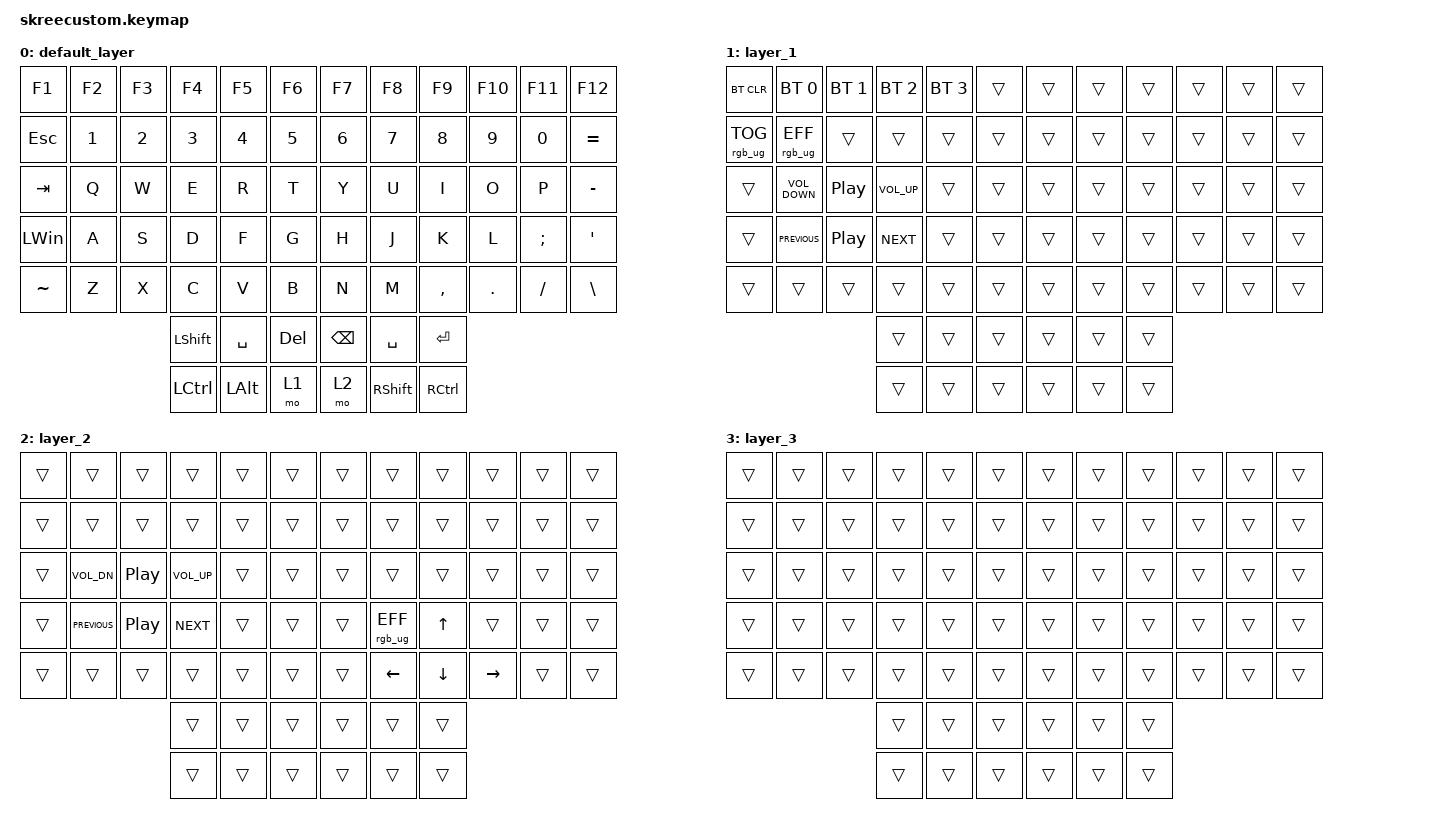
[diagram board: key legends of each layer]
/*
 * Copyright (c) 2020 The ZMK Contributors
 *
 * SPDX-License-Identifier: MIT
 */

#include <input/processors.dtsi>
#include <dt-bindings/zmk/input_transform.h>
#include <behaviors.dtsi>
#include <dt-bindings/zmk/bt.h>
#include <dt-bindings/zmk/keys.h>
#include <dt-bindings/zmk/rgb.h>

/ {
    keymap {
        compatible = "zmk,keymap";

        default_layer {
            bindings = <
&kp F1        &kp F2  &kp F3  &kp F4     &kp F5     &kp F6     &kp F7         &kp F8           &kp F9        &kp F10       &kp F11       &kp F12
&kp ESC       &kp N1  &kp N2  &kp N3     &kp N4     &kp N5     &kp NUMBER_6   &kp NUMBER_7     &kp NUMBER_8  &kp NUMBER_9  &kp NUMBER_0  &kp EQUAL
&kp TAB       &kp Q   &kp W   &kp E      &kp R      &kp T      &kp Y          &kp U            &kp I         &kp O         &kp P         &kp MINUS
&kp LEFT_WIN  &kp A   &kp S   &kp D      &kp F      &kp G      &kp H          &kp J            &kp K         &kp L         &kp SEMI      &kp SQT
&kp TILDE     &kp Z   &kp X   &kp C      &kp V      &kp B      &kp N          &kp M            &kp COMMA     &kp PERIOD    &kp FSLH      &kp BSLH
                              &kp LSHFT  &kp SPACE  &kp DEL    &kp BACKSPACE  &kp SPACE        &kp RET
                              &kp LCTRL  &kp LALT   &mo 1      &mo 2          &kp RIGHT_SHIFT  &kp RCTRL
            >;
        };

        layer_1 {
            bindings = <
&bt BT_CLR       &bt BT_SEL 0       &bt BT_SEL 1      &bt BT_SEL 2     &bt BT_SEL 3  &trans    &trans  &trans  &trans  &trans  &trans  &trans
&rgb_ug RGB_TOG  &rgb_ug RGB_EFF    &trans            &trans           &trans        &trans    &trans  &trans  &trans  &trans  &trans  &trans
&trans           &kp C_VOLUME_DOWN  &kp C_PLAY_PAUSE  &kp C_VOLUME_UP  &trans        &trans    &trans  &trans  &trans  &trans  &trans  &trans
&trans           &kp C_PREVIOUS     &kp C_PLAY_PAUSE  &kp C_NEXT       &trans        &trans    &trans  &trans  &trans  &trans  &trans  &trans
&trans           &trans             &trans            &trans           &trans        &trans    &trans  &trans  &trans  &trans  &trans  &trans
                                                      &trans           &trans        &trans    &trans  &trans  &trans
                                                      &trans           &trans        &trans    &trans  &trans  &trans
            >;
        };

        layer_2 {
            bindings = <
&trans  &trans          &trans            &trans           &trans  &trans    &trans  &trans           &trans        &trans     &trans  &trans
&trans  &trans          &trans            &trans           &trans  &trans    &trans  &trans           &trans        &trans     &trans  &trans
&trans  &kp C_VOL_DN    &kp C_PLAY_PAUSE  &kp C_VOLUME_UP  &trans  &trans    &trans  &trans           &trans        &trans     &trans  &trans
&trans  &kp K_PREVIOUS  &kp C_PLAY_PAUSE  &kp C_NEXT       &trans  &trans    &trans  &rgb_ug RGB_EFF  &kp UP_ARROW  &trans     &trans  &trans
&trans  &trans          &trans            &trans           &trans  &trans    &trans  &kp LEFT_ARROW   &kp DOWN      &kp RIGHT  &trans  &trans
                                          &trans           &trans  &trans    &trans  &trans           &trans
                                          &trans           &trans  &trans    &trans  &trans           &trans
            >;
        };

        layer_3 {
            bindings = <
&trans  &trans  &trans  &trans  &trans  &trans    &trans  &trans  &trans  &trans  &trans  &trans
&trans  &trans  &trans  &trans  &trans  &trans    &trans  &trans  &trans  &trans  &trans  &trans
&trans  &trans  &trans  &trans  &trans  &trans    &trans  &trans  &trans  &trans  &trans  &trans
&trans  &trans  &trans  &trans  &trans  &trans    &trans  &trans  &trans  &trans  &trans  &trans
&trans  &trans  &trans  &trans  &trans  &trans    &trans  &trans  &trans  &trans  &trans  &trans
                        &trans  &trans  &trans    &trans  &trans  &trans
                        &trans  &trans  &trans    &trans  &trans  &trans
            >;
        };
    };
};

// //right hand trackball overrides
// &trackball_peripheral_listener {
//     input-processors =
//         <&zip_xy_transform INPUT_TRANSFORM_XY_SWAP>,//this gets it to the default installation orientation
//         <&zip_temp_layer 3 500>;//activate layer 3 within 500ms of the trackball moving
// };
// //left hand trackball overrides
// &trackball_central_listener {
//     input-processors = 
//         <&zip_xy_transform INPUT_TRANSFORM_XY_SWAP>,//this gets it to the default installation orientation
//         <&zip_xy_scaler 1 3>,//multiply sensitivity by 1, divide by 3 (make it slower for scrolling)
//         <&zip_xy_to_scroll_mapper>,//make this trackball output scrolling events by default instead of cursor movement
//         <&zip_scroll_transform INPUT_TRANSFORM_Y_INVERT>;//invert vertical scrolling so that the view moves in the same direction as the top of the trackball.
// };
